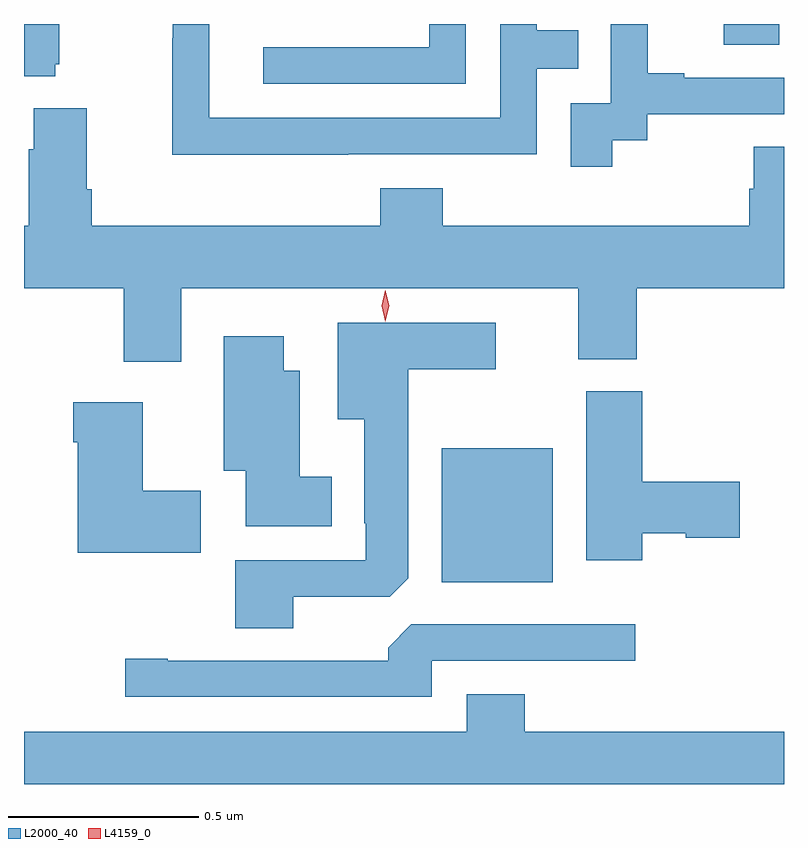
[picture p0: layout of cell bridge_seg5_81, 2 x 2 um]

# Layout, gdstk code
import gdstk
lib = gdstk.Library(unit=1e-6, precision=1e-09)
def R(c, l, rs):  # rectangles x0, y0, x1, y1
    for r in rs: c.add(gdstk.rectangle(r[:2], r[2:], *l))
def P(c, l, *ps):  # polygons
    for p in ps: c.add(gdstk.Polygon(p, *l))
L2000_40 = (2000, 40)
L4159_0 = (4159, 0)

bridge_seg5_81 = lib.new_cell('bridge_seg5_81')
R(bridge_seg5_81, L2000_40, [(127.673,899.942,127.966,900.295), (128.415,901.356,128.562,901.411)])
P(bridge_seg5_81, L2000_40, [(126.656,901.305),(126.667,901.305),(126.667,901.411),(126.574,901.411),(126.574,901.274),(126.656,901.274)],
  [(127.737,901.411),(127.641,901.411),(127.641,901.35),(127.203,901.35),(127.203,901.254),(127.737,901.254)],
  [(127.427,901.068),(127.923,901.068),(127.923,901.293),(128.033,901.293),(128.033,901.394),(127.923,901.394),(127.923,901.411),(127.827,901.411),(127.827,901.164),(127.062,901.164),(127.062,901.411),(126.966,901.411),(126.966,901.373),(126.964,901.373),(126.964,901.067),(127.427,901.067)],
  [(128.122,901.105),(128.214,901.105),(128.214,901.173),(128.574,901.173),(128.574,901.269),(128.311,901.269),(128.311,901.282),(128.216,901.282),(128.216,901.411),(128.118,901.411),(128.118,901.203),(128.013,901.203),(128.013,901.035),(128.122,901.035)],
  [(126.988,900.716),(128.033,900.716),(128.033,900.529),(128.186,900.529),(128.186,900.716),(128.574,900.716),(128.574,901.088),(128.495,901.088),(128.495,900.978),(128.483,900.978),(128.483,900.88),(127.676,900.88),(127.676,900.979),(127.511,900.979),(127.511,900.88),(126.752,900.88),(126.752,900.976),(126.739,900.976),(126.739,901.189),(126.599,901.189),(126.599,901.082),(126.587,901.082),(126.587,900.88),(126.574,900.88),(126.574,900.716),(126.836,900.716),(126.836,900.522),(126.988,900.522)],
  [(127.282,899.904),(127.536,899.904),(127.585,899.953),(127.585,900.503),(127.816,900.503),(127.816,900.625),(127.4,900.625),(127.4,900.371),(127.469,900.371),(127.469,900.097),(127.473,900.097),(127.473,900),(127.13,900),(127.13,899.821),(127.282,899.821)],
  [(127.384,900.22),(127.3,900.22),(127.3,900.499),(127.258,900.499),(127.258,900.589),(127.1,900.589),(127.1,900.236),(127.157,900.236),(127.157,900.089),(127.384,900.089)],
  [(128.201,900.071),(128.315,900.071),(128.315,900.059),(128.458,900.059),(128.458,900.206),(128.201,900.206),(128.201,900.444),(128.054,900.444),(128.054,900),(128.201,900)],
  [(127.039,900.183),(126.886,900.183),(126.886,900.415),(126.704,900.415),(126.704,900.311),(126.716,900.311),(126.716,900.02),(127.039,900.02)],
  [(127.647,899.736),(128.182,899.736),(128.182,899.832),(127.593,899.832),(127.532,899.77),(127.532,899.736),(126.952,899.736),(126.952,899.741),(126.84,899.741),(126.84,899.64),(127.647,899.64)],
  [(128.574,899.548),(127.892,899.548),(127.892,899.647),(127.739,899.647),(127.739,899.548),(126.574,899.548),(126.574,899.411),(128.574,899.411)])
P(bridge_seg5_81, L4159_0, [(127.525,900.628),(127.525,900.629),(127.515,900.67),(127.525,900.711),(127.525,900.711),(127.525,900.711),(127.535,900.67),(127.525,900.629)])

lib.write_gds('bridge_seg5_81.gds')
